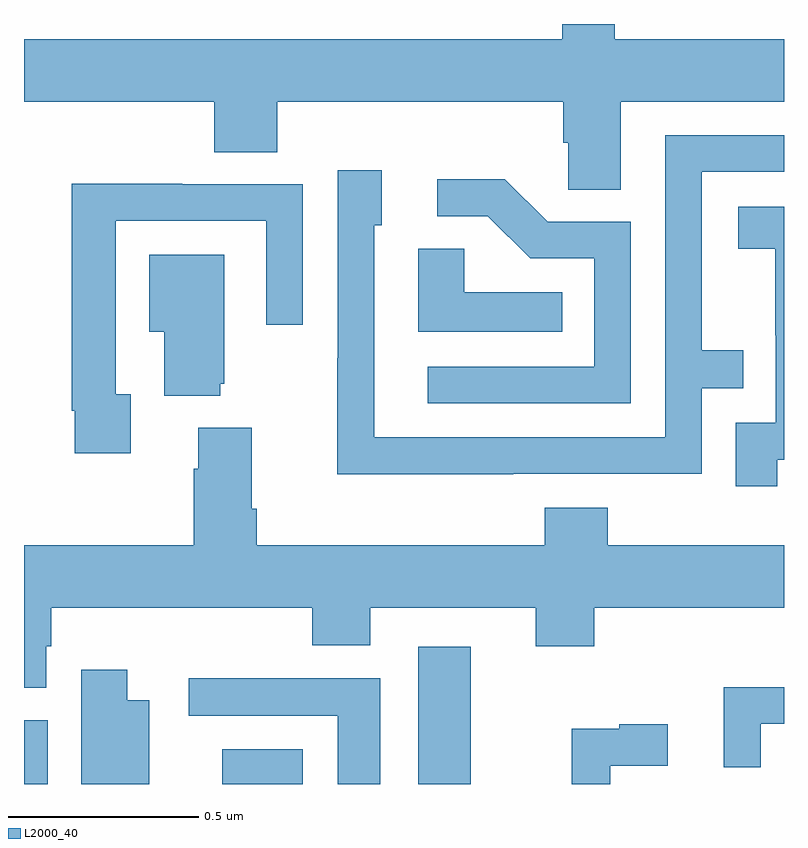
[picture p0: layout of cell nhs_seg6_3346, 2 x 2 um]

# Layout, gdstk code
import gdstk
lib = gdstk.Library(unit=1e-6, precision=1e-09)
def R(c, l, rs):  # rectangles x0, y0, x1, y1
    for r in rs: c.add(gdstk.rectangle(r[:2], r[2:], *l))
def P(c, l, *ps):  # polygons
    for p in ps: c.add(gdstk.Polygon(p, *l))
L2000_40 = (2000, 40)

nhs_seg6_3346 = lib.new_cell('nhs_seg6_3346')
R(nhs_seg6_3346, L2000_40, [(155,985.5,155.062,985.668), (155.522,985.5,155.734,985.591), (156.038,985.5,156.175,985.861)])
P(nhs_seg6_3346, L2000_40, [(156.571,987.296),(157,987.296),(157,987.46),(156.555,987.46),(156.555,987.5),(156.416,987.5),(156.416,987.46),(155,987.46),(155,987.296),(155.501,987.296),(155.501,987.163),(155.666,987.163),(155.666,987.296),(156.419,987.296),(156.419,987.187),(156.432,987.187),(156.432,987.064),(156.571,987.064)],
  [(156.287,986.316),(156.783,986.316),(156.783,986.541),(156.893,986.541),(156.893,986.642),(156.783,986.642),(156.783,987.111),(157,987.111),(157,987.207),(156.687,987.207),(156.687,986.412),(155.922,986.412),(155.922,986.97),(155.941,986.97),(155.941,987.115),(155.826,987.115),(155.826,986.621),(155.824,986.621),(155.824,986.315),(156.287,986.315)],
  [(156.597,986.979),(156.378,986.979),(156.265,987.092),(156.087,987.092),(156.087,986.994),(156.221,986.994),(156.332,986.883),(156.501,986.883),(156.501,986.598),(156.063,986.598),(156.063,986.502),(156.597,986.502)],
  [(155.281,986.526),(155.241,986.526),(155.241,986.982),(155.637,986.982),(155.637,986.709),(155.733,986.709),(155.733,987.078),(155.417,987.078),(155.417,987.08),(155.125,987.08),(155.125,986.482),(155.133,986.482),(155.133,986.37),(155.281,986.37)],
  [(156.982,986.353),(157,986.353),(157,987.019),(156.879,987.019),(156.879,986.909),(156.977,986.909),(156.977,986.681),(156.978,986.681),(156.978,986.451),(156.873,986.451),(156.873,986.283),(156.982,986.283)],
  [(156.416,986.794),(156.159,986.794),(156.159,986.909),(156.038,986.909),(156.038,986.69),(156.416,986.69)],
  [(155.516,986.553),(155.527,986.553),(155.527,986.893),(155.33,986.893),(155.33,986.69),(155.369,986.69),(155.369,986.522),(155.516,986.522)],
  [(155.059,985.863),(155.072,985.863),(155.072,985.964),(155.759,985.964),(155.759,985.865),(155.911,985.865),(155.911,985.964),(156.347,985.964),(156.347,985.862),(156.5,985.862),(156.5,985.964),(157,985.964),(157,986.128),(156.536,986.128),(156.536,986.227),(156.371,986.227),(156.371,986.128),(155.612,986.128),(155.612,986.224),(155.599,986.224),(155.599,986.437),(155.459,986.437),(155.459,986.33),(155.447,986.33),(155.447,986.128),(155,986.128),(155,985.753),(155.059,985.753)],
  [(155.329,985.72),(155.272,985.72),(155.272,985.801),(155.15,985.801),(155.15,985.5),(155.329,985.5)],
  [(155.938,985.778),(155.433,985.778),(155.433,985.68),(155.825,985.68),(155.825,985.5),(155.938,985.5)],
  [(156.939,985.659),(157,985.659),(157,985.755),(156.842,985.755),(156.842,985.544),(156.939,985.544)],
  [(156.543,985.548),(156.694,985.548),(156.694,985.657),(156.566,985.657),(156.566,985.646),(156.442,985.646),(156.442,985.5),(156.543,985.5)])

lib.write_gds('nhs_seg6_3346.gds')
